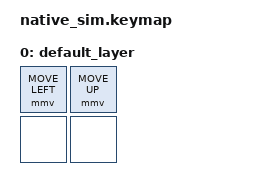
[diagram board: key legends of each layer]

#include <dt-bindings/zmk/input_transform.h>
#include <zephyr/dt-bindings/input/input-event-codes.h>

#include <behaviors.dtsi>
#include <input/processors.dtsi>
#include <dt-bindings/zmk/keys.h>
#include <dt-bindings/zmk/input_mock.h>
#include <dt-bindings/zmk/pointing.h>

&mmv_input_listener {
    input-processors = <&zip_xy_scaler 5 3>;
};

/ {
    keymap {
        compatible = "zmk,keymap";
        label ="Default keymap";

        default_layer {
            bindings = <
                &mmv MOVE_LEFT &mmv MOVE_UP
                &none &none
            >;
        };
    };
};


&mock_input {
    events = <
        ZMK_INPUT_MOCK_PRESS(0,0,10)
        ZMK_INPUT_MOCK_PRESS(0,1,100)
        ZMK_INPUT_MOCK_RELEASE(0,0,10)
        ZMK_INPUT_MOCK_RELEASE(0,1,10)
    >;
};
